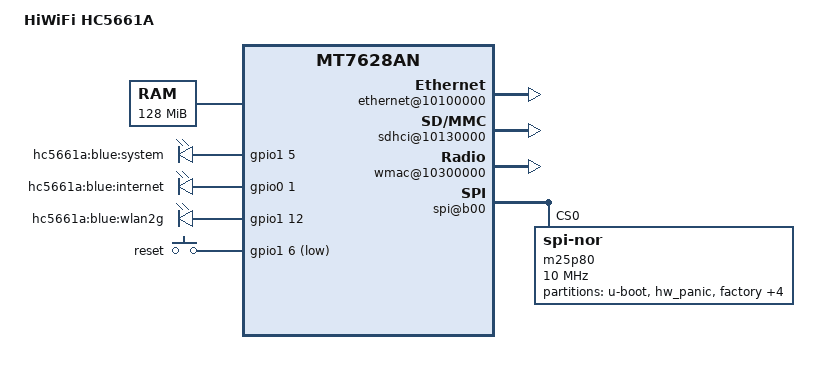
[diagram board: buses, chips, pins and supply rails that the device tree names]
/dts-v1/;

/include/ "mt7628an.dtsi"

/ {
	compatible = "hiwifi,HC5661A", "mediatek,mt7628an-soc";
	model = "HiWiFi HC5661A";

	chosen {
		bootargs = "console=ttyS0,115200";
	};

	memory@0 {
		device_type = "memory";
		reg = <0x0 0x8000000>;
	};

	gpio-leds {
		compatible = "gpio-leds";

		system {
			label = "hc5661a:blue:system";
			gpios = <&gpio1 5 0>;
		};
		internet {
			label = "hc5661a:blue:internet";
			gpios = <&gpio0 1 0>;
		};
		wlan2g {
			label = "hc5661a:blue:wlan2g";
			gpios = <&gpio1 12 0>;
		};
	};

	pinctrl {
		state_default: pinctrl0 {
			gpio {
				ralink,group = "gpio";
				ralink,function = "gpio";
			};
		};
	};

	gpio-keys-polled {
		compatible = "gpio-keys-polled";
		#address-cells = <1>;
		#size-cells = <0>;
		poll-interval = <20>;

		reset {
			label = "reset";
			gpios = <&gpio1 6 1>;
			linux,code = <0x198>;
		};
	};

	ethernet@10100000 {
		status = "okay";
		mtd-mac-address = <&factory 0x4>;
		mediatek,portmap = "wllll";
	};

	esw@10110000 {
		status = "okay";
		ralink,portmap = <0x2f>;
	};

	sdhci@10130000 {
		status = "okay";
	};

	wmac@10300000 {
		status = "okay";
		ralink,mtd-eeprom = <&factory 0>;
	};

	palmbus@10000000 {
		spi@b00 {
			status = "okay";

			m25p80@0 {
				#address-cells = <1>;
				#size-cells = <1>;
				compatible = "jedec,spi-nor";
				reg = <0 0>;
				linux,modalias = "m25p80", "w25q128";
				spi-max-frequency = <10000000>;
				m25p,chunked-io = <32>;

				partition@0 {
					label = "u-boot";
					reg = <0x0 0x30000>;
					read-only;
				};

				partition@30000 {
					label = "hw_panic";
					reg = <0x30000 0x10000>;
					read-only;
				};

				factory: partition@40000 {
					label = "factory";
					reg = <0x40000 0x10000>;
					read-only;
				};

				partition@50000 {
					label = "firmware";
					reg = <0x50000 0xf70000>;
				};

				partition@fc0000 {
					label = "oem";
					reg = <0xfc0000 0x20000>;
					read-only;
				};

				bdinfo: partition@fe0000 {
					label = "bdinfo";
					reg = <0xfe0000 0x10000>;
					read-only;
				};

				partition@ff0000 {
					label = "backup";
					reg = <0xff0000 0x10000>;
					read-only;
				};
			};
		};
	};
};
